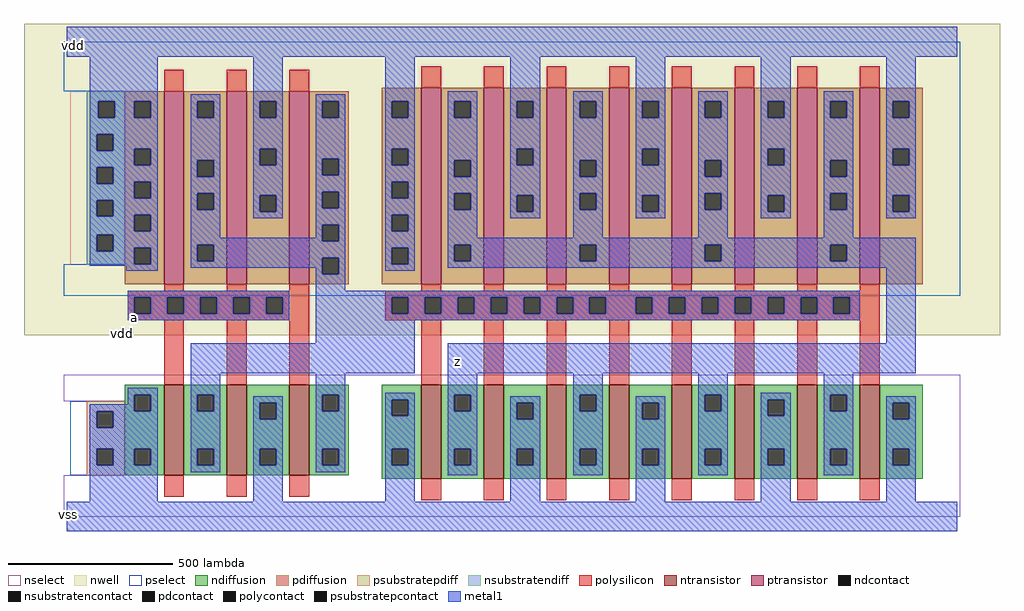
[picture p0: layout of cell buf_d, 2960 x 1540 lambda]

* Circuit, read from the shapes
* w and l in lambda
.subckt buf_d z a vdd vss
M1 n1 a vss vss nfet w=275 l=60 m=3
M2 z n1 vss vss nfet w=285 l=60 m=8
M3 n1 a vdd vdd pfet w=585 l=60 m=3
M4 z n1 vdd vdd pfet w=595 l=60 m=8
.ends

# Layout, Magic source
magic
tech amic5n
<< nwell >>
rect -130 550 2830 1495
<< ntransistor >>
rect 295 125 355 400
rect 485 125 545 400
rect 675 125 735 400
rect 1075 115 1135 400
rect 1265 115 1325 400
rect 1455 115 1515 400
rect 1645 115 1705 400
rect 1835 115 1895 400
rect 2025 115 2085 400
rect 2215 115 2275 400
rect 2405 115 2465 400
<< ptransistor >>
rect 295 705 355 1290
rect 485 705 545 1290
rect 675 705 735 1290
rect 1075 705 1135 1300
rect 1265 705 1325 1300
rect 1455 705 1515 1300
rect 1645 705 1705 1300
rect 1835 705 1895 1300
rect 2025 705 2085 1300
rect 2215 705 2275 1300
rect 2405 705 2465 1300
<< nselect >>
rect 10 765 175 1290
rect -10 350 2710 430
rect 175 125 2710 350
rect -10 0 2710 125
<< pselect >>
rect -10 1290 2710 1440
rect 175 765 2710 1290
rect -10 670 2710 765
rect 10 125 175 350
<< ndiffusion >>
rect 175 370 295 400
rect 175 320 205 370
rect 255 320 295 370
rect 175 205 295 320
rect 175 155 205 205
rect 255 155 295 205
rect 175 125 295 155
rect 355 370 485 400
rect 355 320 395 370
rect 445 320 485 370
rect 355 205 485 320
rect 355 155 395 205
rect 445 155 485 205
rect 355 125 485 155
rect 545 345 675 400
rect 545 295 585 345
rect 635 295 675 345
rect 545 205 675 295
rect 545 155 585 205
rect 635 155 675 205
rect 545 125 675 155
rect 735 370 855 400
rect 735 320 775 370
rect 825 320 855 370
rect 735 205 855 320
rect 735 155 775 205
rect 825 155 855 205
rect 735 125 855 155
rect 955 355 1075 400
rect 955 305 985 355
rect 1035 305 1075 355
rect 955 205 1075 305
rect 955 155 985 205
rect 1035 155 1075 205
rect 955 115 1075 155
rect 1135 370 1265 400
rect 1135 320 1175 370
rect 1225 320 1265 370
rect 1135 205 1265 320
rect 1135 155 1175 205
rect 1225 155 1265 205
rect 1135 115 1265 155
rect 1325 345 1455 400
rect 1325 295 1365 345
rect 1415 295 1455 345
rect 1325 205 1455 295
rect 1325 155 1365 205
rect 1415 155 1455 205
rect 1325 115 1455 155
rect 1515 370 1645 400
rect 1515 320 1555 370
rect 1605 320 1645 370
rect 1515 205 1645 320
rect 1515 155 1555 205
rect 1605 155 1645 205
rect 1515 115 1645 155
rect 1705 345 1835 400
rect 1705 295 1745 345
rect 1795 295 1835 345
rect 1705 205 1835 295
rect 1705 155 1745 205
rect 1795 155 1835 205
rect 1705 115 1835 155
rect 1895 370 2025 400
rect 1895 320 1935 370
rect 1985 320 2025 370
rect 1895 205 2025 320
rect 1895 155 1935 205
rect 1985 155 2025 205
rect 1895 115 2025 155
rect 2085 355 2215 400
rect 2085 305 2125 355
rect 2175 305 2215 355
rect 2085 205 2215 305
rect 2085 155 2125 205
rect 2175 155 2215 205
rect 2085 115 2215 155
rect 2275 370 2405 400
rect 2275 320 2315 370
rect 2365 320 2405 370
rect 2275 205 2405 320
rect 2275 155 2315 205
rect 2365 155 2405 205
rect 2275 115 2405 155
rect 2465 345 2595 400
rect 2465 295 2505 345
rect 2555 295 2595 345
rect 2465 205 2595 295
rect 2465 155 2505 205
rect 2555 155 2595 205
rect 2465 115 2595 155
<< pdiffusion >>
rect 175 1260 295 1290
rect 175 1210 205 1260
rect 255 1210 295 1260
rect 175 1115 295 1210
rect 175 1065 205 1115
rect 255 1065 295 1115
rect 175 1015 295 1065
rect 175 965 205 1015
rect 255 965 295 1015
rect 175 915 295 965
rect 175 865 205 915
rect 255 865 295 915
rect 175 815 295 865
rect 175 765 205 815
rect 255 765 295 815
rect 175 705 295 765
rect 355 1260 485 1290
rect 355 1210 395 1260
rect 445 1210 485 1260
rect 355 1080 485 1210
rect 355 1030 395 1080
rect 445 1030 485 1080
rect 355 980 485 1030
rect 355 930 395 980
rect 445 930 485 980
rect 355 825 485 930
rect 355 775 395 825
rect 445 775 485 825
rect 355 705 485 775
rect 545 1260 675 1290
rect 545 1210 585 1260
rect 635 1210 675 1260
rect 545 1115 675 1210
rect 545 1065 585 1115
rect 635 1065 675 1115
rect 545 975 675 1065
rect 545 925 585 975
rect 635 925 675 975
rect 545 705 675 925
rect 735 1260 855 1290
rect 735 1210 775 1260
rect 825 1210 855 1260
rect 735 1085 855 1210
rect 735 1035 775 1085
rect 825 1035 855 1085
rect 735 985 855 1035
rect 735 935 775 985
rect 825 935 855 985
rect 735 885 855 935
rect 735 835 775 885
rect 825 835 855 885
rect 735 785 855 835
rect 735 735 775 785
rect 825 735 855 785
rect 735 705 855 735
rect 955 1260 1075 1300
rect 955 1210 985 1260
rect 1035 1210 1075 1260
rect 955 1115 1075 1210
rect 955 1065 985 1115
rect 1035 1065 1075 1115
rect 955 1015 1075 1065
rect 955 965 985 1015
rect 1035 965 1075 1015
rect 955 915 1075 965
rect 955 865 985 915
rect 1035 865 1075 915
rect 955 815 1075 865
rect 955 765 985 815
rect 1035 765 1075 815
rect 955 705 1075 765
rect 1135 1260 1265 1300
rect 1135 1210 1175 1260
rect 1225 1210 1265 1260
rect 1135 1080 1265 1210
rect 1135 1030 1175 1080
rect 1225 1030 1265 1080
rect 1135 980 1265 1030
rect 1135 930 1175 980
rect 1225 930 1265 980
rect 1135 825 1265 930
rect 1135 775 1175 825
rect 1225 775 1265 825
rect 1135 705 1265 775
rect 1325 1260 1455 1300
rect 1325 1210 1365 1260
rect 1415 1210 1455 1260
rect 1325 1115 1455 1210
rect 1325 1065 1365 1115
rect 1415 1065 1455 1115
rect 1325 975 1455 1065
rect 1325 925 1365 975
rect 1415 925 1455 975
rect 1325 705 1455 925
rect 1515 1260 1645 1300
rect 1515 1210 1555 1260
rect 1605 1210 1645 1260
rect 1515 1080 1645 1210
rect 1515 1030 1555 1080
rect 1605 1030 1645 1080
rect 1515 980 1645 1030
rect 1515 930 1555 980
rect 1605 930 1645 980
rect 1515 825 1645 930
rect 1515 775 1555 825
rect 1605 775 1645 825
rect 1515 705 1645 775
rect 1705 1260 1835 1300
rect 1705 1210 1745 1260
rect 1795 1210 1835 1260
rect 1705 1115 1835 1210
rect 1705 1065 1745 1115
rect 1795 1065 1835 1115
rect 1705 975 1835 1065
rect 1705 925 1745 975
rect 1795 925 1835 975
rect 1705 705 1835 925
rect 1895 1260 2025 1300
rect 1895 1210 1935 1260
rect 1985 1210 2025 1260
rect 1895 1080 2025 1210
rect 1895 1030 1935 1080
rect 1985 1030 2025 1080
rect 1895 980 2025 1030
rect 1895 930 1935 980
rect 1985 930 2025 980
rect 1895 825 2025 930
rect 1895 775 1935 825
rect 1985 775 2025 825
rect 1895 705 2025 775
rect 2085 1260 2215 1300
rect 2085 1210 2125 1260
rect 2175 1210 2215 1260
rect 2085 1115 2215 1210
rect 2085 1065 2125 1115
rect 2175 1065 2215 1115
rect 2085 975 2215 1065
rect 2085 925 2125 975
rect 2175 925 2215 975
rect 2085 705 2215 925
rect 2275 1260 2405 1300
rect 2275 1210 2315 1260
rect 2365 1210 2405 1260
rect 2275 1080 2405 1210
rect 2275 1030 2315 1080
rect 2365 1030 2405 1080
rect 2275 980 2405 1030
rect 2275 930 2315 980
rect 2365 930 2405 980
rect 2275 825 2405 930
rect 2275 775 2315 825
rect 2365 775 2405 825
rect 2275 705 2405 775
rect 2465 1260 2595 1300
rect 2465 1210 2505 1260
rect 2555 1210 2595 1260
rect 2465 1115 2595 1210
rect 2465 1065 2505 1115
rect 2555 1065 2595 1115
rect 2465 975 2595 1065
rect 2465 925 2505 975
rect 2555 925 2595 975
rect 2465 705 2595 925
<< psubstratepdiff >>
rect 60 320 175 350
rect 60 270 90 320
rect 140 270 175 320
rect 60 205 175 270
rect 60 155 90 205
rect 140 155 175 205
rect 60 125 175 155
<< nsubstratendiff >>
rect 60 1260 175 1290
rect 60 1210 95 1260
rect 145 1210 175 1260
rect 60 1160 175 1210
rect 60 1110 90 1160
rect 140 1110 175 1160
rect 60 1060 175 1110
rect 60 1010 90 1060
rect 140 1010 175 1060
rect 60 960 175 1010
rect 60 910 90 960
rect 140 910 175 960
rect 60 855 175 910
rect 60 805 90 855
rect 140 805 175 855
rect 60 765 175 805
<< nsubstratencontact >>
rect 95 1210 145 1260
rect 90 1110 140 1160
rect 90 1010 140 1060
rect 90 910 140 960
rect 90 805 140 855
<< psubstratepcontact >>
rect 90 270 140 320
rect 90 155 140 205
<< ndcontact >>
rect 205 320 255 370
rect 205 155 255 205
rect 395 320 445 370
rect 395 155 445 205
rect 585 295 635 345
rect 585 155 635 205
rect 775 320 825 370
rect 775 155 825 205
rect 985 305 1035 355
rect 985 155 1035 205
rect 1175 320 1225 370
rect 1175 155 1225 205
rect 1365 295 1415 345
rect 1365 155 1415 205
rect 1555 320 1605 370
rect 1555 155 1605 205
rect 1745 295 1795 345
rect 1745 155 1795 205
rect 1935 320 1985 370
rect 1935 155 1985 205
rect 2125 305 2175 355
rect 2125 155 2175 205
rect 2315 320 2365 370
rect 2315 155 2365 205
rect 2505 295 2555 345
rect 2505 155 2555 205
<< pdcontact >>
rect 205 1210 255 1260
rect 205 1065 255 1115
rect 205 965 255 1015
rect 205 865 255 915
rect 205 765 255 815
rect 395 1210 445 1260
rect 395 1030 445 1080
rect 395 930 445 980
rect 395 775 445 825
rect 585 1210 635 1260
rect 585 1065 635 1115
rect 585 925 635 975
rect 775 1210 825 1260
rect 775 1035 825 1085
rect 775 935 825 985
rect 775 835 825 885
rect 775 735 825 785
rect 985 1210 1035 1260
rect 985 1065 1035 1115
rect 985 965 1035 1015
rect 985 865 1035 915
rect 985 765 1035 815
rect 1175 1210 1225 1260
rect 1175 1030 1225 1080
rect 1175 930 1225 980
rect 1175 775 1225 825
rect 1365 1210 1415 1260
rect 1365 1065 1415 1115
rect 1365 925 1415 975
rect 1555 1210 1605 1260
rect 1555 1030 1605 1080
rect 1555 930 1605 980
rect 1555 775 1605 825
rect 1745 1210 1795 1260
rect 1745 1065 1795 1115
rect 1745 925 1795 975
rect 1935 1210 1985 1260
rect 1935 1030 1985 1080
rect 1935 930 1985 980
rect 1935 775 1985 825
rect 2125 1210 2175 1260
rect 2125 1065 2175 1115
rect 2125 925 2175 975
rect 2315 1210 2365 1260
rect 2315 1030 2365 1080
rect 2315 930 2365 980
rect 2315 775 2365 825
rect 2505 1210 2555 1260
rect 2505 1065 2555 1115
rect 2505 925 2555 975
<< polysilicon >>
rect 295 1290 355 1355
rect 485 1290 545 1355
rect 675 1290 735 1355
rect 1075 1300 1135 1365
rect 1265 1300 1325 1365
rect 1455 1300 1515 1365
rect 1645 1300 1705 1365
rect 1835 1300 1895 1365
rect 2025 1300 2085 1365
rect 2215 1300 2275 1365
rect 2405 1300 2465 1365
rect 295 685 355 705
rect 485 685 545 705
rect 675 685 735 705
rect 1075 685 1135 705
rect 1265 685 1325 705
rect 1455 685 1515 705
rect 1645 685 1705 705
rect 1835 685 1895 705
rect 2025 685 2085 705
rect 2215 685 2275 705
rect 2405 685 2465 705
rect 185 665 735 685
rect 185 615 205 665
rect 255 615 305 665
rect 355 615 405 665
rect 455 615 505 665
rect 555 615 605 665
rect 655 615 735 665
rect 185 595 735 615
rect 965 665 2465 685
rect 965 615 985 665
rect 1035 615 1085 665
rect 1135 615 1185 665
rect 1235 615 1285 665
rect 1335 615 1385 665
rect 1435 615 1485 665
rect 1535 615 1585 665
rect 1635 615 1725 665
rect 1775 615 1825 665
rect 1875 615 1925 665
rect 1975 615 2025 665
rect 2075 615 2125 665
rect 2175 615 2225 665
rect 2275 615 2325 665
rect 2375 615 2465 665
rect 965 595 2465 615
rect 295 400 355 595
rect 485 400 545 595
rect 675 400 735 595
rect 1075 400 1135 595
rect 1265 400 1325 595
rect 1455 400 1515 595
rect 1645 400 1705 595
rect 1835 400 1895 595
rect 2025 400 2085 595
rect 2215 400 2275 595
rect 2405 400 2465 595
rect 295 60 355 125
rect 485 60 545 125
rect 675 60 735 125
rect 1075 50 1135 115
rect 1265 50 1325 115
rect 1455 50 1515 115
rect 1645 50 1705 115
rect 1835 50 1895 115
rect 2025 50 2085 115
rect 2215 50 2275 115
rect 2405 50 2465 115
<< polycontact >>
rect 205 615 255 665
rect 305 615 355 665
rect 405 615 455 665
rect 505 615 555 665
rect 605 615 655 665
rect 985 615 1035 665
rect 1085 615 1135 665
rect 1185 615 1235 665
rect 1285 615 1335 665
rect 1385 615 1435 665
rect 1485 615 1535 665
rect 1585 615 1635 665
rect 1725 615 1775 665
rect 1825 615 1875 665
rect 1925 615 1975 665
rect 2025 615 2075 665
rect 2125 615 2175 665
rect 2225 615 2275 665
rect 2325 615 2375 665
<< metal1 >>
rect 0 1395 2700 1485
rect 70 1260 275 1395
rect 70 1210 95 1260
rect 145 1210 205 1260
rect 255 1210 275 1260
rect 70 1160 275 1210
rect 70 1110 90 1160
rect 140 1115 275 1160
rect 140 1110 205 1115
rect 70 1065 205 1110
rect 255 1065 275 1115
rect 70 1060 275 1065
rect 70 1010 90 1060
rect 140 1015 275 1060
rect 140 1010 205 1015
rect 70 965 205 1010
rect 255 965 275 1015
rect 70 960 275 965
rect 70 910 90 960
rect 140 915 275 960
rect 140 910 205 915
rect 70 865 205 910
rect 255 865 275 915
rect 70 855 275 865
rect 70 805 90 855
rect 140 815 275 855
rect 140 805 205 815
rect 70 765 205 805
rect 255 765 275 815
rect 70 760 275 765
rect 180 745 275 760
rect 375 1260 465 1280
rect 375 1210 395 1260
rect 445 1210 465 1260
rect 375 1080 465 1210
rect 375 1030 395 1080
rect 445 1030 465 1080
rect 375 980 465 1030
rect 375 930 395 980
rect 445 930 465 980
rect 375 845 465 930
rect 565 1260 655 1395
rect 565 1210 585 1260
rect 635 1210 655 1260
rect 565 1115 655 1210
rect 565 1065 585 1115
rect 635 1065 655 1115
rect 565 975 655 1065
rect 565 925 585 975
rect 635 925 655 975
rect 565 905 655 925
rect 755 1260 845 1280
rect 755 1210 775 1260
rect 825 1210 845 1260
rect 755 1085 845 1210
rect 755 1035 775 1085
rect 825 1035 845 1085
rect 755 985 845 1035
rect 755 935 775 985
rect 825 935 845 985
rect 755 885 845 935
rect 755 845 775 885
rect 375 835 775 845
rect 825 835 845 885
rect 375 825 845 835
rect 375 775 395 825
rect 445 785 845 825
rect 445 775 775 785
rect 375 755 775 775
rect 755 735 775 755
rect 825 735 845 785
rect 965 1260 1055 1395
rect 965 1210 985 1260
rect 1035 1210 1055 1260
rect 965 1115 1055 1210
rect 965 1065 985 1115
rect 1035 1065 1055 1115
rect 965 1015 1055 1065
rect 965 965 985 1015
rect 1035 965 1055 1015
rect 965 915 1055 965
rect 965 865 985 915
rect 1035 865 1055 915
rect 965 815 1055 865
rect 965 765 985 815
rect 1035 765 1055 815
rect 965 745 1055 765
rect 1155 1260 1245 1290
rect 1155 1210 1175 1260
rect 1225 1210 1245 1260
rect 1155 1080 1245 1210
rect 1155 1030 1175 1080
rect 1225 1030 1245 1080
rect 1155 980 1245 1030
rect 1155 930 1175 980
rect 1225 930 1245 980
rect 1155 845 1245 930
rect 1345 1260 1435 1395
rect 1345 1210 1365 1260
rect 1415 1210 1435 1260
rect 1345 1115 1435 1210
rect 1345 1065 1365 1115
rect 1415 1065 1435 1115
rect 1345 975 1435 1065
rect 1345 925 1365 975
rect 1415 925 1435 975
rect 1345 905 1435 925
rect 1535 1260 1625 1290
rect 1535 1210 1555 1260
rect 1605 1210 1625 1260
rect 1535 1080 1625 1210
rect 1535 1030 1555 1080
rect 1605 1030 1625 1080
rect 1535 980 1625 1030
rect 1535 930 1555 980
rect 1605 930 1625 980
rect 1535 845 1625 930
rect 1725 1260 1815 1395
rect 1725 1210 1745 1260
rect 1795 1210 1815 1260
rect 1725 1115 1815 1210
rect 1725 1065 1745 1115
rect 1795 1065 1815 1115
rect 1725 975 1815 1065
rect 1725 925 1745 975
rect 1795 925 1815 975
rect 1725 905 1815 925
rect 1915 1260 2005 1290
rect 1915 1210 1935 1260
rect 1985 1210 2005 1260
rect 1915 1080 2005 1210
rect 1915 1030 1935 1080
rect 1985 1030 2005 1080
rect 1915 980 2005 1030
rect 1915 930 1935 980
rect 1985 930 2005 980
rect 1915 845 2005 930
rect 2105 1260 2195 1395
rect 2105 1210 2125 1260
rect 2175 1210 2195 1260
rect 2105 1115 2195 1210
rect 2105 1065 2125 1115
rect 2175 1065 2195 1115
rect 2105 975 2195 1065
rect 2105 925 2125 975
rect 2175 925 2195 975
rect 2105 905 2195 925
rect 2295 1260 2385 1290
rect 2295 1210 2315 1260
rect 2365 1210 2385 1260
rect 2295 1080 2385 1210
rect 2295 1030 2315 1080
rect 2365 1030 2385 1080
rect 2295 980 2385 1030
rect 2295 930 2315 980
rect 2365 930 2385 980
rect 2295 845 2385 930
rect 2485 1260 2575 1395
rect 2485 1210 2505 1260
rect 2555 1210 2575 1260
rect 2485 1115 2575 1210
rect 2485 1065 2505 1115
rect 2555 1065 2575 1115
rect 2485 975 2575 1065
rect 2485 925 2505 975
rect 2555 925 2575 975
rect 2485 905 2575 925
rect 1155 825 2575 845
rect 1155 775 1175 825
rect 1225 775 1555 825
rect 1605 775 1935 825
rect 1985 775 2315 825
rect 2365 775 2575 825
rect 1155 755 2575 775
rect 755 685 845 735
rect 185 665 675 685
rect 185 615 205 665
rect 255 615 305 665
rect 355 615 405 665
rect 455 615 505 665
rect 555 615 605 665
rect 655 615 675 665
rect 185 595 675 615
rect 755 665 2405 685
rect 755 615 985 665
rect 1035 615 1085 665
rect 1135 615 1185 665
rect 1235 615 1285 665
rect 1335 615 1385 665
rect 1435 615 1485 665
rect 1535 615 1585 665
rect 1635 615 1725 665
rect 1775 615 1825 665
rect 1875 615 1925 665
rect 1975 615 2025 665
rect 2075 615 2125 665
rect 2175 615 2225 665
rect 2275 615 2325 665
rect 2375 615 2405 665
rect 755 595 2405 615
rect 755 525 1055 595
rect 2485 525 2575 755
rect 375 435 1055 525
rect 1155 435 2575 525
rect 185 370 275 390
rect 185 340 205 370
rect 70 320 205 340
rect 255 320 275 370
rect 70 270 90 320
rect 140 270 275 320
rect 70 205 275 270
rect 70 155 90 205
rect 140 155 205 205
rect 255 155 275 205
rect 70 45 275 155
rect 375 370 465 435
rect 375 320 395 370
rect 445 320 465 370
rect 755 370 845 435
rect 375 205 465 320
rect 375 155 395 205
rect 445 155 465 205
rect 375 135 465 155
rect 565 345 655 365
rect 565 295 585 345
rect 635 295 655 345
rect 565 205 655 295
rect 565 155 585 205
rect 635 155 655 205
rect 565 45 655 155
rect 755 320 775 370
rect 825 320 845 370
rect 755 205 845 320
rect 755 155 775 205
rect 825 155 845 205
rect 755 135 845 155
rect 965 355 1055 375
rect 965 305 985 355
rect 1035 305 1055 355
rect 965 205 1055 305
rect 965 155 985 205
rect 1035 155 1055 205
rect 965 45 1055 155
rect 1155 370 1245 435
rect 1155 320 1175 370
rect 1225 320 1245 370
rect 1535 370 1625 435
rect 1155 205 1245 320
rect 1155 155 1175 205
rect 1225 155 1245 205
rect 1155 125 1245 155
rect 1345 345 1435 365
rect 1345 295 1365 345
rect 1415 295 1435 345
rect 1345 205 1435 295
rect 1345 155 1365 205
rect 1415 155 1435 205
rect 1345 45 1435 155
rect 1535 320 1555 370
rect 1605 320 1625 370
rect 1915 370 2005 435
rect 1535 205 1625 320
rect 1535 155 1555 205
rect 1605 155 1625 205
rect 1535 125 1625 155
rect 1725 345 1815 365
rect 1725 295 1745 345
rect 1795 295 1815 345
rect 1725 205 1815 295
rect 1725 155 1745 205
rect 1795 155 1815 205
rect 1725 45 1815 155
rect 1915 320 1935 370
rect 1985 320 2005 370
rect 1915 205 2005 320
rect 1915 155 1935 205
rect 1985 155 2005 205
rect 1915 125 2005 155
rect 2105 355 2195 375
rect 2105 305 2125 355
rect 2175 305 2195 355
rect 2105 205 2195 305
rect 2105 155 2125 205
rect 2175 155 2195 205
rect 2105 45 2195 155
rect 2295 370 2385 435
rect 2295 320 2315 370
rect 2365 320 2385 370
rect 2295 205 2385 320
rect 2295 155 2315 205
rect 2365 155 2385 205
rect 2295 125 2385 155
rect 2485 345 2575 365
rect 2485 295 2505 345
rect 2555 295 2575 345
rect 2485 205 2575 295
rect 2485 155 2505 205
rect 2555 155 2575 205
rect 2485 45 2575 155
rect 0 -45 2700 45
<< labels >>
flabel metal1 s 5 5 5 5 2 FreeSans 400 0 0 0 vss
port 3 ne
flabel metal1 s 20 1430 20 1430 2 FreeSans 400 0 0 0 vdd
port 2 ne
flabel nwell 170 555 170 555 2 FreeSans 400 0 0 0 vdd
flabel metal1 s 205 605 205 605 2 FreeSans 400 0 0 0 a
port 1 ne
flabel metal1 s 1185 470 1185 470 2 FreeSans 400 0 0 0 z
port 0 ne
<< properties >>
string FIXED_BBOX 0 0 2700 1440
string LEFsite core
string LEFclass CORE
string LEFsymmetry X Y
<< end >>
